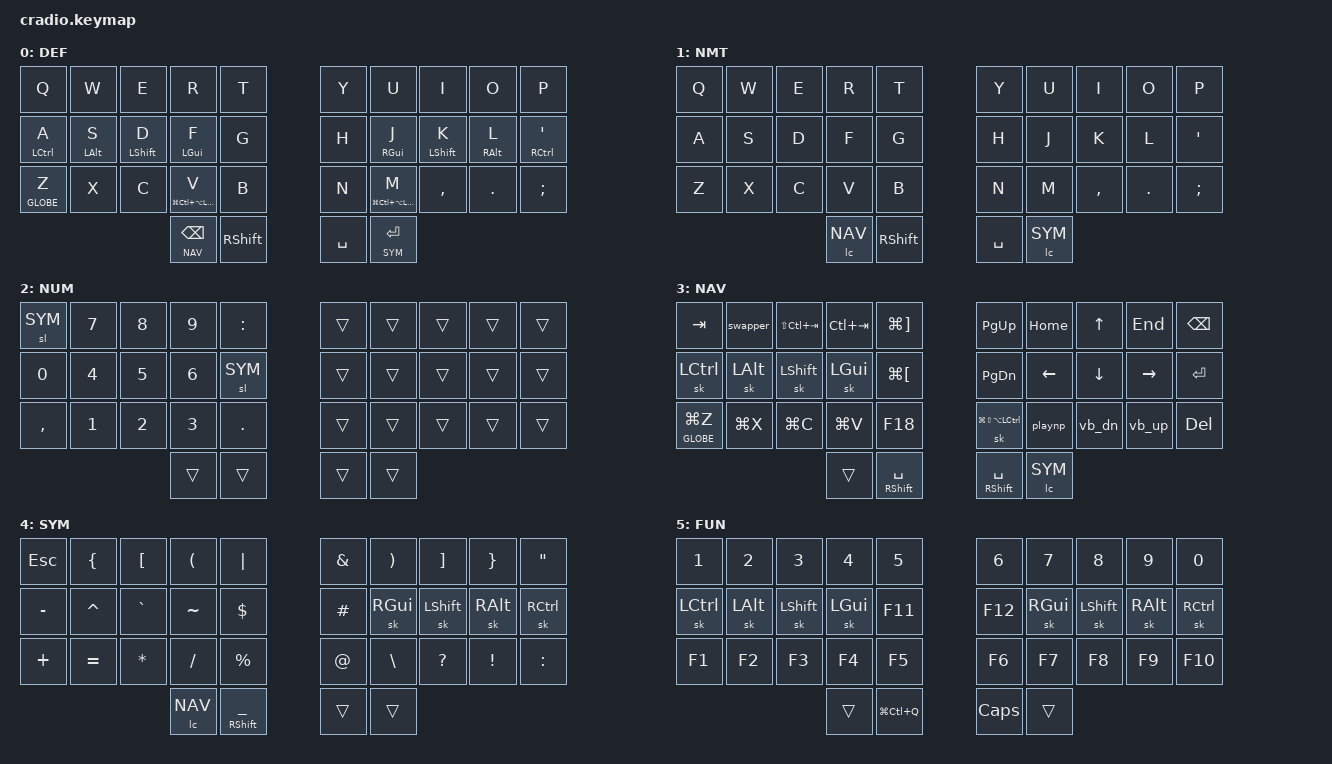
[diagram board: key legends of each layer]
#include <behaviors/num_word.dtsi> // reqquires auto-layer module (https://github.com/urob/zmk-auto-layer)
#include <behaviors.dtsi>
#include <dt-bindings/zmk/bt.h>
#include <dt-bindings/zmk/keys.h>

#define DEF 0
#define NMT 1 // No-mod-taps for if I regret setting mod-taps and can't access my code or can't update my firmware on the keyboard
#define NUM 2
#define NAV 3
#define SYM 4
#define FUN 5

#define HYPER LG(LC(LA(LSHFT)))

&sk {
    quick-release; // Avoids "THis" problem (double capitalization)
    release-after-ms = <86400000>;// Default is 1000 ms, raised to 1 day to emulate Callum's behavior that requires canceling on layer key.
};

&caps_word { continue-list = <UNDERSCORE MINUS BACKSPACE DELETE K_CANCEL LSHFT SQT CARET TILDE GRAVE>; }; // K_CANCEL is for &lc macro, LSHFT is for PT-BR diacriticals on ^`~" keys. 
&mt { flavor = "balanced"; }; // Using these for GLOBE keys and faster window management with Swish app as well as AOE layers

/ {
    combos {
        compatible = "zmk,combos";

        left_hand_esc {
            bindings = <&kp ESCAPE>;
            key-positions = <0 10>;
            require-prior-idle-ms = <200>;
        };

        left_hand_enter {
            bindings = <&kp ENTER>;
            key-positions = <3 13>;
            require-prior-idle-ms = <200>;
        };

        left_hand_backspace {
            bindings = <&kp BSPC>;
            key-positions = <4 14>;
            require-prior-idle-ms = <200>;
        };

        homerow_app_trigger {
            key-positions = <31 32>;
            bindings = <&kp LS(LG(SPACE))>;
            layers = <DEF NMT>;
            require-prior-idle-ms = <200>;
        };

        sticky_sym_layer_for_one_handed_typing {
            key-positions = <32 33>;
            bindings = <&sl SYM>;
            layers = <DEF NMT>;
            require-prior-idle-ms = <200>;
        };

        toggle_mod_taps {
            key-positions = <14 15>;
            bindings = <&tog NMT>;
            require-prior-idle-ms = <200>;
        };

        toggle_nav_layer_for_extended_edits_or_mouse_usage {
            key-positions = <30 31>;
            bindings = <&tog NAV>;
            require-prior-idle-ms = <200>;
        };

        toggle_num_word {
            key-positions = <12 30>;
            bindings = <&num_word NUM>; // requires auto-layer module (https://github.com/urob/zmk-auto-layer)
            layers = <DEF NMT NUM>;
        };
            require-prior-idle-ms = <200>;

        toggle_caps_word {
            key-positions = <12 17>;
            bindings = <&caps_word>;
            layers = <DEF NMT>;
            require-prior-idle-ms = <200>;
        };
        
        spotlight {
            key-positions = <13 16>;
            bindings = <&kp LG(SPACE)>;
            layers = <DEF NMT>;
            require-prior-idle-ms = <200>;
        };

        sys_bootloader {
            key-positions = <20 21>;
            bindings = <&bootloader>;
            layers = <FUN>;
            require-prior-idle-ms = <200>;
        };

        sys_connect_to_bt0 {
            key-positions = <3 4>;
            bindings = <&bt BT_SEL 0>;
            layers = <FUN>;
        };

        sys_connect_to_bt1 {
            key-positions = <13 14>;
            bindings = <&bt BT_SEL 1>;
            layers = <FUN>;
        };

        sys_connect_to_bt2 {
            key-positions = <23 24>;
            bindings = <&bt BT_SEL 2>;
            layers = <FUN>;
        };

        sys_clear_current_bluetooth_profile {
            key-positions = <28 29>;
            bindings = <&bt BT_CLR>;
            layers = <FUN>;
            require-prior-idle-ms = <200>;
        };

        
    };

    behaviors {
        playnp: play_next_previous_media_key {
            compatible = "zmk,behavior-tap-dance";
            #binding-cells = <0>;
            tapping-term-ms = <300>;
            bindings =
                <&mt C_MUTE C_PLAY_PAUSE>,
                <&kp C_NEXT>,
                <&kp C_PREVIOUS>;
        };

        vb_up: volume_brightness_up_on_control {
            compatible = "zmk,behavior-mod-morph";
            #binding-cells = <0>;
            bindings = <&kp C_VOL_UP>, <&kp C_BRI_UP>;
            mods = <(MOD_LCTL)>;
        };

        vb_dn: volume_brightness_down_on_control {
            compatible = "zmk,behavior-mod-morph";
            #binding-cells = <0>;
            bindings = <&kp C_VOL_DN>, <&kp C_BRI_DN>;
            mods = <(MOD_LCTL)>;
        };

        swapper: swapper_for_apple_cmd_tab {
            compatible = "zmk,behavior-tri-state"; // requires tri-state module (https://github.com/urob/zmk-tri-state)
            #binding-cells = <0>;
            bindings = <&kt RGUI>, <&kp TAB>, <&kt RGUI>;
            ignored-key-positions = <7 16 17 18 9 19 29>;// Arrows and BSPC, ENTER and DEL
        };

        hrml: hrml {
            compatible = "zmk,behavior-hold-tap";
            label = "HRML";
            bindings = <&kp>, <&kp>;

            #binding-cells = <2>;
            hold-trigger-key-positions = <5 6 7 8 9 15 16 17 18 19 25 26 27 28 29 30 31 32 33>; // right-side + thumbs
            flavor = "balanced";
            tapping-term-ms = <280>;
            hold-trigger-on-release;
            quick-tap-ms = <175>;
            require-prior-idle-ms = <175>;
        };

        hrmr: hrmr {
            compatible = "zmk,behavior-hold-tap";
            label = "HRMR";
            bindings = <&kp>, <&kp>;

            #binding-cells = <2>;
            flavor = "balanced";
            tapping-term-ms = <280>;
            hold-trigger-key-positions = <0 1 2 3 4 10 11 12 13 14 20 21 22 23 24 30 31 32 33>; // left-side + thumbs
            hold-trigger-on-release;
            quick-tap-ms = <175>;
            require-prior-idle-ms = <175>;
        };

        // Layer-tap variants for urob's hrm

        ltl: ltl {
            compatible = "zmk,behavior-hold-tap";
            label = "LC_TAP_L";
            bindings = <&lc>, <&kp>;

            #binding-cells = <2>;
            hold-trigger-key-positions = <5 6 7 8 9 15 16 17 18 19 25 26 27 28 29 30 31 32 33>; // right-side + thumbs
            flavor = "balanced";
            tapping-term-ms = <280>;
            hold-trigger-on-release;
            quick-tap-ms = <175>;
            require-prior-idle-ms = <175>;
        };

        ltr: ltr {
            compatible = "zmk,behavior-hold-tap";
            label = "LC_TAP_R";
            bindings = <&lc>, <&kp>;

            #binding-cells = <2>;
            flavor = "balanced";
            tapping-term-ms = <280>;
            hold-trigger-key-positions = <0 1 2 3 4 10 11 12 13 14 20 21 22 23 24 30 31 32 33>; // left-side + thumbs
            hold-trigger-on-release;
            quick-tap-ms = <175>;
            require-prior-idle-ms = <175>;
        };
        
        ltt: ltt {
            compatible = "zmk,behavior-hold-tap";
            label = "LC_TAP_THUMBS";
            bindings = <&lc>, <&kp>;

            #binding-cells = <2>;
            flavor = "hold-preferred";
            tapping-term-ms = <175>;
            quick-tap-ms = <175>;
        };

    };

    macros {
        lc: mo_layer_switch_with_an_embeded_cancel_tap_for_clearing_any_queued_sticky_mods_on_layer_activation {
            compatible = "zmk,behavior-macro-one-param";
            label = "mo_layer/cancel";
            wait-ms = <0>;
            tap-ms = <0>;
            #binding-cells = <1>;
            bindings =
                <&macro_tap>,
                <&kp K_CANCEL &macro_param_1to1>,
                <&macro_press>,
                <&mo MACRO_PLACEHOLDER>,
                <&macro_pause_for_release>,
                <&macro_param_1to1>,
                <&macro_release>,
                <&mo MACRO_PLACEHOLDER>;
        };
    };

    conditional_layers {
        compatible = "zmk,conditional-layers";

        tri_layer_for_function_and_number_row_keys {
            if-layers = <NAV SYM>;
            then-layer = <FUN>;
        };
    };

    keymap {
        compatible = "zmk,keymap";

        DEF {
            bindings = <
                &kp Q          &kp W         &kp E          &kp R         &kp T       &kp Y      &kp U        &kp I          &kp O         &kp P
                &hrml LCTRL A  &hrml LALT S  &hrml LSHFT D  &hrml LGUI F  &kp G       &kp H      &hrmr RGUI J &hrmr LSHFT K  &hrmr RALT L  &hrmr RCTRL SQT
                &hrml GLOBE Z  &kp X         &kp C          &hrml HYPER V &kp B       &kp N      &hrmr HYPER M &kp COMMA     &kp DOT       &kp SEMI
                                                            &ltt NAV BSPC &kp RSHFT   &kp SPACE  &ltt SYM RET
            >;
        };

        NMT {
            bindings = <
                &kp Q &kp W   &kp E   &kp R   &kp T   &kp Y      &kp U        &kp I       &kp O   &kp P
                &kp A &kp S   &kp D   &kp F   &kp G   &kp H      &kp J        &kp K       &kp L   &kp SQT
                &kp Z &kp X   &kp C   &kp V   &kp B   &kp N      &kp M        &kp COMMA   &kp DOT &kp SEMI
                                              &lc NAV &kp RSHFT  &kp SPACE    &lc SYM
            >;
        };

        NUM {
            bindings = <
                &sl SYM    &kp N7  &kp N8  &kp N9   &kp COLON &trans  &trans  &trans  &trans  &trans
                &kp N0     &kp N4  &kp N5  &kp N6   &sl SYM   &trans  &trans  &trans  &trans  &trans
                &kp COMMA  &kp N1  &kp N2  &kp N3   &kp DOT   &trans  &trans  &trans  &trans  &trans
                                            &trans   &trans    &trans  &trans
            >;
        };

        NAV {
            bindings = <
                &kp TAB          &swapper   &kp LS(LC(TAB))  &kp LC(TAB)  &kp LG(RBKT)    &kp PG_UP               &kp HOME  &kp UP    &kp END    &kp BSPC
                &sk LCTRL        &sk LALT   &sk LSHFT        &sk LGUI     &kp LG(LBKT)    &kp PG_DN               &kp LEFT  &kp DOWN  &kp RIGHT  &kp RET
                &mt GLOBE LG(Z)  &kp LG(X)  &kp LG(C)        &kp LG(V)    &kp F18         &sk LG(LS(LA(LCTRL)))   &playnp   &vb_dn    &vb_up     &kp DEL
                                                            &trans       &mt RSHFT SPACE &mt RSHFT SPACE         &lc SYM
            >;
        };

        SYM {
            bindings = <
                &kp ESC    &kp LBRC   &kp LBKT   &kp LPAR   &kp PIPE           &kp AMPS  &kp RPAR  &kp RBKT   &kp RBRC  &kp DQT
                &kp MINUS  &kp CARET  &kp GRAVE  &kp TILDE  &kp DOLLAR         &kp HASH  &sk RGUI  &sk LSHFT  &sk RALT  &sk RCTRL
                &kp PLUS   &kp EQUAL  &kp ASTRK  &kp FSLH   &kp PRCNT          &kp AT    &kp BSLH  &kp QMARK  &kp EXCL  &kp COLON
                                                 &lc NAV    &mt RSHFT UNDER    &trans    &trans
            >;
        };

        FUN {
            bindings = <
                &kp N1     &kp N2    &kp N3     &kp N4    &kp N5           &kp N6    &kp N7    &kp N8     &kp N9    &kp N0
                &sk LCTRL  &sk LALT  &sk LSHFT  &sk LGUI  &kp F11          &kp F12   &sk RGUI  &sk LSHFT  &sk RALT  &sk RCTRL
                &kp F1     &kp F2    &kp F3     &kp F4    &kp F5           &kp F6    &kp F7    &kp F8     &kp F9    &kp F10
                                                &trans    &kp LG(LC(Q))    &kp CAPS  &trans
            >;
        };

    };
};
